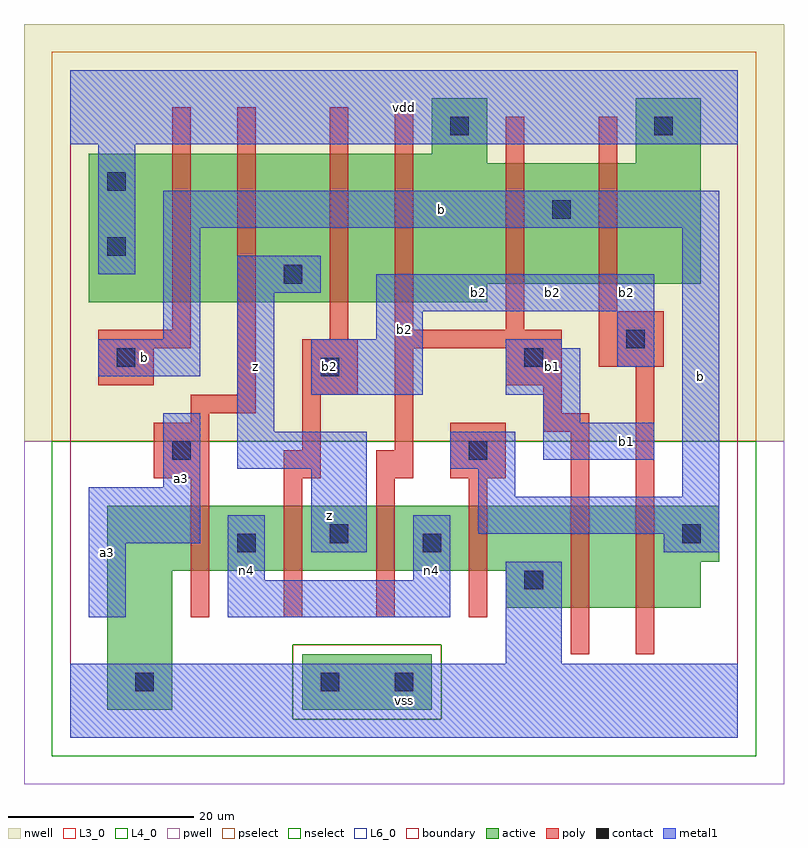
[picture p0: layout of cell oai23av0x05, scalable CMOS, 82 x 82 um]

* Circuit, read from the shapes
.subckt oai23av0x05 a3 b b1 b2 n4 vdd vss z
M1 n4 a3 vss vss nfet w=7u l=2u
M2 z b2 n4 vss nfet w=7u l=2u
M3 n4 b1 z vss nfet w=7u l=2u
M4 vss b n4 vss nfet w=7u l=2u
M5 n1 b1 vss vss nfet w=11u l=2u
M6 b b2 n1 vss nfet w=11u l=2u
M7 n2 b vdd n3 pfet w=16u l=2u
M8 z a3 n2 n3 pfet w=16u l=2u
M9 n5 b2 z n3 pfet w=16u l=2u
M10 vdd b1 n5 n3 pfet w=16u l=2u
M11 b b1 vdd n3 pfet w=13u l=2u
M12 vdd b2 b n3 pfet w=13u l=2u
.ends

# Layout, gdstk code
import gdstk
lib = gdstk.Library(unit=1e-6, precision=1e-09)
def R(c, l, rs):  # rectangles x0, y0, x1, y1
    for r in rs: c.add(gdstk.rectangle(r[:2], r[2:], *l))
def A(c, l, x, y, w, h, nx, ny, dx, dy):  # array of equal rectangles
    R(c, l, [(x+i*dx, y+j*dy, x+i*dx+w, y+j*dy+h) for i in range(nx) for j in range(ny)])
L3_0 = (3, 0)
L4_0 = (4, 0)
L6_0 = (6, 0)
contact = (25, 0)
pwell = (41, 0)
nwell = (42, 0)
active = (43, 0)
pselect = (44, 0)
nselect = (45, 0)
poly = (46, 0)
metal1 = (49, 0)
boundary = (63, 0)

oai23av0x05 = lib.new_cell('oai23av0x05')
R(oai23av0x05, L3_0, [(4,3,11,18), (47,14,68,18), (4,18,68,19), (4,19,70,25)])
R(oai23av0x05, L4_0, [(2,47,45,49), (2,49,68,62), (2,62,45,63), (61,62,68,69), (39,63,45,69)])
R(oai23av0x05, L6_0, [(25,3,39,9)])
R(oai23av0x05, contact, [(7,5,9,7), (27,5,29,7), (35,5,37,7), (49,16,51,18), (18,20,20,22), (38,20,40,22), (28,21,30,23), (66,21,68,23), (11,30,13,32), (43,30,45,32), (27,39,29,41), (5,40,7,42), (49,40,51,42), (60,42,62,44), (23,49,25,51), (4,52,6,54), (52,56,54,58), (4,59,6,61), (41,65,43,67), (63,65,65,67)])
R(oai23av0x05, pwell, [(-5,-5,77,32)])
R(oai23av0x05, nwell, [(-5,32,77,77)])
R(oai23av0x05, active, [(4,3,11,18), (25,3,39,9), (47,14,68,18), (4,18,68,19), (4,19,70,25), (2,47,45,49), (2,49,68,62), (2,62,45,63), (61,62,68,69), (39,63,45,69)])
R(oai23av0x05, pselect, [(24,2,40,10), (-2,32,74,74)])
R(oai23av0x05, nselect, [(-2,-2,74,2), (-2,2,24,10), (40,2,74,10), (-2,10,74,32)])
A(oai23av0x05, poly, 13, 13, 2, 15, 4, 1, 10, 0)
R(oai23av0x05, poly, [(54,9,56,33), (61,9,63,40), (9,28,15,34), (23,28,27,31), (33,28,37,31), (41,28,47,34), (25,31,27,37), (35,31,37,42), (51,33,56,35), (13,34,15,35), (13,35,20,37), (51,35,53,38), (18,37,20,68), (25,37,31,43), (3,38,9,42), (47,38,53,42), (57,40,64,46), (3,42,13,44), (35,42,53,44), (28,43,30,68), (11,44,13,68), (35,44,37,68), (47,44,49,67), (57,46,59,67)])
R(oai23av0x05, metal1, [(0,0,72,8), (47,8,53,19), (2,13,6,21), (17,13,41,17), (17,17,21,24), (37,17,41,24), (26,20,32,29), (64,20,70,22), (2,21,14,27), (44,22,70,26), (44,26,48,29), (66,26,70,55), (10,27,14,35), (18,29,32,33), (41,29,48,33), (51,30,63,34), (18,33,22,48), (51,34,55,37), (26,37,38,43), (47,37,55,42), (3,39,14,43), (59,40,63,46), (47,42,53,43), (10,43,14,55), (33,43,38,46), (33,46,63,50), (18,48,27,52), (3,50,7,64), (10,55,70,59), (0,64,72,72)])
R(oai23av0x05, boundary, [(0,0,72,72)])
oai23av0x05.add(gdstk.Label('b', (8,41), layer=49, texttype=0))
oai23av0x05.add(gdstk.Label('n4', (19,18), layer=49, texttype=0))
oai23av0x05.add(gdstk.Label('n4', (39,18), layer=49, texttype=0))
oai23av0x05.add(gdstk.Label('b', (40,57), layer=49, texttype=0))
oai23av0x05.add(gdstk.Label('b', (68,39), layer=49, texttype=0))
oai23av0x05.add(gdstk.Label('a3', (4,20), layer=49, texttype=0))
oai23av0x05.add(gdstk.Label('a3', (12,28), layer=49, texttype=0))
oai23av0x05.add(gdstk.Label('z', (28,24), layer=49, texttype=0))
oai23av0x05.add(gdstk.Label('b2', (28,40), layer=49, texttype=0))
oai23av0x05.add(gdstk.Label('z', (20,40), layer=49, texttype=0))
oai23av0x05.add(gdstk.Label('vss', (36,4), layer=49, texttype=0))
oai23av0x05.add(gdstk.Label('b1', (52,40), layer=49, texttype=0))
oai23av0x05.add(gdstk.Label('b2', (36,44), layer=49, texttype=0))
oai23av0x05.add(gdstk.Label('b2', (52,48), layer=49, texttype=0))
oai23av0x05.add(gdstk.Label('b2', (44,48), layer=49, texttype=0))
oai23av0x05.add(gdstk.Label('vdd', (36,68), layer=49, texttype=0))
oai23av0x05.add(gdstk.Label('b1', (60,32), layer=49, texttype=0))
oai23av0x05.add(gdstk.Label('b2', (60,48), layer=49, texttype=0))

lib.write_gds('oai23av0x05.gds')
